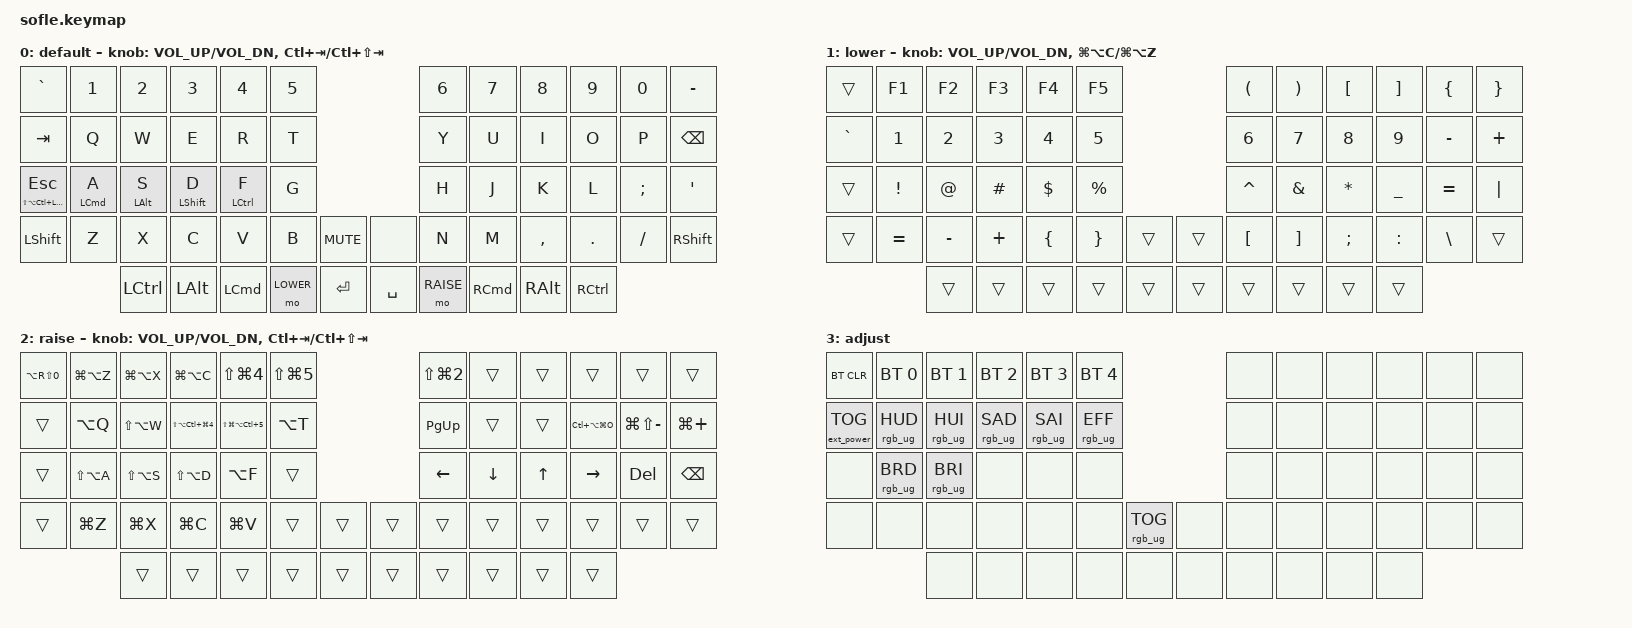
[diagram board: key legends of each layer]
/*
 * Copyright (c) 2020 The ZMK Contributors
 *
 * SPDX-License-Identifier: MIT
 */

#include <behaviors.dtsi>
#include <dt-bindings/zmk/bt.h>
#include <dt-bindings/zmk/ext_power.h>
#include <dt-bindings/zmk/keys.h>
#include <dt-bindings/zmk/rgb.h>

#define BASE 0
#define LOWER 1
#define RAISE 2
#define ADJUST 3

/ {
    // Activate ADJUST layer by pressing raise and lower

    conditional_layers {
        compatible = "zmk,conditional-layers";

        adjust_layer {
            if-layers = <LOWER RAISE>;
            then-layer = <ADJUST>;
        };
    };

    combos {
        compatible = "zmk,combos";

        caps-toggle {
            bindings = <&caps_word>;
            key-positions = <36 49>;
        };
    };

    behaviors {
        hmr: hmr {
            compatible = "zmk,behavior-hold-tap";
            label = "HMR";
            bindings = <&kp>, <&kp>;

            #binding-cells = <2>;
            tapping-term-ms = <280>;
            quick-tap-ms = <175>;
            flavor = "balanced";
            hold-trigger-key-positions = <25 26 27 28>;
            require-prior-idle-ms = <150>;
        };
    };

    keymap {
        compatible = "zmk,keymap";

        default_layer {
            display-name = "default";

            // ------------------------------------------------------------------------------------------------------------
            // |   `   |  1  |  2  |  3   |  4   |  5   |                   |  6   |  7    |  8    |  9   |   0   |       |
            // |  ESC  |  Q  |  W  |  E   |  R   |  T   |                   |  Y   |  U    |  I    |  O   |   P   | BKSPC |
            // |  TAB  |  A  |  S  |  D   |  F   |  G   |                   |  H   |  J    |  K    |  L   |   ;   |   '   |
            // | SHIFT |  Z  |  X  |  C   |  V   |  B   |  MUTE  |  |       |  N   |  M    |  ,    |  .   |   /   | SHIFT |
            //               | GUI | ALT  | CTRL | LOWER|  ENTER |  | SPACE | RAISE| CTRL  | ALT   | GUI  |

            bindings = <
&kp GRAVE                         &kp N1               &kp N2            &kp N3             &kp N4               &kp N5                              &kp N6     &kp N7             &kp N8     &kp N9             &kp N0    &kp MINUS
&kp TAB                           &kp Q                &kp W             &kp E              &kp R                &kp T                               &kp Y      &kp U              &kp I      &kp O              &kp P     &kp BSPC
&mt LS(LA(LC(LEFT_COMMAND))) ESC  &hmr LEFT_COMMAND A  &hmr LEFT_ALT S   &hmr LEFT_SHIFT D  &hmr LEFT_CONTROL F  &kp G                               &kp H      &kp J              &kp K      &kp L              &kp SEMI  &kp SQT
&kp LSHFT                         &kp Z                &kp X             &kp C              &kp V                &kp B      &kp C_MUTE    &none      &kp N      &kp M              &kp COMMA  &kp DOT            &kp FSLH  &kp RSHFT
                                                       &kp LEFT_CONTROL  &kp LALT           &kp LEFT_COMMAND     &mo LOWER  &kp RET       &kp SPACE  &mo RAISE  &kp RIGHT_COMMAND  &kp RALT   &kp RIGHT_CONTROL
            >;

            sensor-bindings =
                <&inc_dec_kp C_VOL_UP C_VOL_DN>,
                <&inc_dec_kp LC(TAB) LC(LS(TAB))>;
        };

        lower_layer {
            display-name = "lower";

            // TODO: Some binds are waiting for shifted keycode support.
            // ------------------------------------------------------------------------------------------------------------
            // |       |  F1 |  F2 |  F3  |  F4  |  F5  |                   |  F6  |  F7   |  F8   |  F9  |  F10  |  F11  |
            // |   `   |  1  |  2  |  3   |  4   |  5   |                   |  6   |  7    |  8    |  9   |   0   |  F12  |
            // |       |  !  |  @  |  #   |  $   |  %   |                   |  ^   |  &    |  *    |  (   |   )   |   |   |
            // |       |  =  |  -  |  +   |  {   |  }   |        |  |       |  [   |  ]    |  ;    |  :   |   \   |       |
            //               |     |      |      |      |        |  |       |      |       |       |      |

            bindings = <
&trans     &kp F1     &kp F2     &kp F3    &kp F4    &kp F5                       &kp LEFT_PARENTHESIS  &kp RIGHT_PARENTHESIS  &kp LEFT_BRACKET  &kp RIGHT_BRACKET  &kp LEFT_BRACE  &kp RIGHT_BRACE
&kp GRAVE  &kp N1     &kp N2     &kp N3    &kp N4    &kp N5                       &kp N6                &kp N7                 &kp N8            &kp N9             &kp MINUS       &kp PLUS
&trans     &kp EXCL   &kp AT     &kp HASH  &kp DLLR  &kp PRCNT                    &kp CARET             &kp AMPS               &kp ASTRK         &kp UNDERSCORE     &kp EQUAL       &kp PIPE
&trans     &kp EQUAL  &kp MINUS  &kp PLUS  &kp LBRC  &kp RBRC   &trans    &trans  &kp LBKT              &kp RBKT               &kp SEMI          &kp COLON          &kp BSLH        &trans
                      &trans     &trans    &trans    &trans     &trans    &trans  &trans                &trans                 &trans            &trans
            >;

            sensor-bindings =
                <&inc_dec_kp C_VOL_UP C_VOL_DN>,
                <&inc_dec_kp LG(LA(C)) LG(LA(Z))>;
        };

        raise_layer {
            display-name = "raise";

            // ------------------------------------------------------------------------------------------------------------
            // | BTCLR | BT1  | BT2  |  BT3  |  BT4  |  BT5 |                |      |      |       |      |       |       |
            // |       | INS  | PSCR | GUI   |       |      |                | PGUP |      |   ^   |      |       |       |
            // |       | ALT  | CTRL | SHIFT |       | CAPS |                | PGDN |   <- |   v   |  ->  |  DEL  | BKSPC |
            // |       | UNDO | CUT  | COPY  | PASTE |      |      |  |      |      |      |       |      |       |       |
            //                |      |       |       |      |      |  |      |      |      |       |      |

            bindings = <
&kp LA(RS(N0))  &kp LG(LA(Z))  &kp LG(LA(X))  &kp LG(LA(C))                 &kp LS(LG(NUMBER_4))    &kp LS(LG(N5))                    &kp LS(LG(NUMBER_2))  &trans          &trans  &trans             &trans             &trans
&trans          &kp LA(Q)      &kp LS(LA(W))  &kp LS(LA(LC(LG(NUMBER_4))))  &kp LS(LG(LA(LC(N5))))  &kp LA(T)                         &kp PG_UP             &trans          &trans  &kp LC(LA(LG(O)))  &kp LG(LS(MINUS))  &kp LG(PLUS)
&trans          &kp LS(LA(A))  &kp LS(LA(S))  &kp LS(LA(D))                 &kp LA(F)               &trans                            &kp LEFT_ARROW        &kp DOWN_ARROW  &kp UP  &kp RIGHT          &kp DEL            &kp BSPC
&trans          &kp LG(Z)      &kp LG(X)      &kp LG(C)                     &kp LG(V)               &trans          &trans    &trans  &trans                &trans          &trans  &trans             &trans             &trans
                               &trans         &trans                        &trans                  &trans          &trans    &trans  &trans                &trans          &trans  &trans
            >;

            sensor-bindings =
                <&inc_dec_kp C_VOL_UP C_VOL_DN>,
                <&inc_dec_kp LC(TAB) LC(LS(TAB))>;
        };

        adjust_layer {
            // ----------------------------------------------------------------------------------------------------------------------------
            // | BTCLR  |  BT1    |  BT2    |   BT3   |   BT4   |   BT5   |                  |      |      |       |      |       |       |
            // | EXTPWR | RGB_HUD | RGB_HUI | RGB_SAD | RGB_SAI | RGB_EFF |                  |      |      |       |      |       |       |
            // |        | RGB_BRD | RGB_BRI |         |         |         |                  |      |      |       |      |       |       |
            // |        |         |         |         |         |         | RGB_TOG | |      |      |      |       |      |       |       |
            //                    |         |         |         |         |         | |      |      |      |       |      |

            display-name = "adjust";
            bindings = <
&bt BT_CLR         &bt BT_SEL 0     &bt BT_SEL 1     &bt BT_SEL 2     &bt BT_SEL 3     &bt BT_SEL 4                               &none  &none  &none  &none  &none  &none
&ext_power EP_TOG  &rgb_ug RGB_HUD  &rgb_ug RGB_HUI  &rgb_ug RGB_SAD  &rgb_ug RGB_SAI  &rgb_ug RGB_EFF                            &none  &none  &none  &none  &none  &none
&none              &rgb_ug RGB_BRD  &rgb_ug RGB_BRI  &none            &none            &none                                      &none  &none  &none  &none  &none  &none
&none              &none            &none            &none            &none            &none            &rgb_ug RGB_TOG    &none  &none  &none  &none  &none  &none  &none
                                    &none            &none            &none            &none            &none              &none  &none  &none  &none  &none
            >;
        };
    };
};
